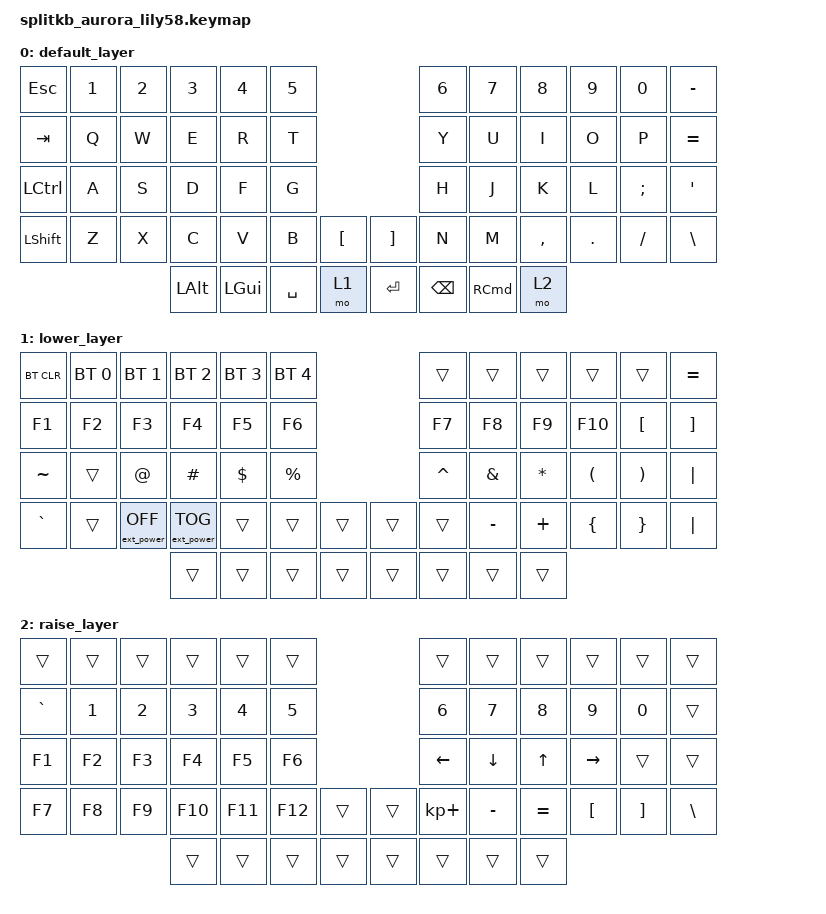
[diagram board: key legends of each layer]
/*
 * Copyright (c) 2022 The ZMK Contributors
 *
 * SPDX-License-Identifier: MIT
 */

#include <behaviors.dtsi>
#include <dt-bindings/zmk/bt.h>
#include <dt-bindings/zmk/ext_power.h>
#include <dt-bindings/zmk/keys.h>

/ {
    keymap {
        compatible = "zmk,keymap";

        default_layer {
            // ------------------------------------------------------------------------------------------------------------
            // |  ESC  |  1  |  2  |  3   |  4   |  5   |                   |  6   |  7    |  8    |  9   |   0   |   `   |
            // |  TAB  |  Q  |  W  |  E   |  R   |  T   |                   |  Y   |  U    |  I    |  O   |   P   |   -   |
            // |  CTRL |  A  |  S  |  D   |  F   |  G   |                   |  H   |  J    |  K    |  L   |   ;   |   '   |
            // | SHIFT |  Z  |  X  |  C   |  V   |  B   |   "["  |  |  "]"  |  N   |  M    |  ,    |  .   |   /   | SHIFT |
            //                     | ALT  | GUI  | LOWER|  SPACE |  | ENTER | RAISE| BSPC  | GUI   |

            bindings = <
&kp ESC    &kp N1  &kp N2  &kp N3    &kp N4    &kp N5                           &kp N6         &kp N7             &kp N8     &kp N9   &kp N0    &kp MINUS
&kp TAB    &kp Q   &kp W   &kp E     &kp R     &kp T                            &kp Y          &kp U              &kp I      &kp O    &kp P     &kp EQUAL
&kp LCTRL  &kp A   &kp S   &kp D     &kp F     &kp G                            &kp H          &kp J              &kp K      &kp L    &kp SEMI  &kp SQT
&kp LSHFT  &kp Z   &kp X   &kp C     &kp V     &kp B      &kp LBKT    &kp RBKT  &kp N          &kp M              &kp COMMA  &kp DOT  &kp FSLH  &kp BACKSLASH
                           &kp LALT  &kp LGUI  &kp SPACE  &mo 1       &kp RET   &kp BACKSPACE  &kp RIGHT_COMMAND  &mo 2
            >;
        };

        lower_layer {
            // ------------------------------------------------------------------------------------------------------------
            // | BTCLR | BT1 | BT2 |  BT3 |  BT4 |  BT5 |                   |      |       |       |      |       |       |
            // |  F1   |  F2 |  F3 |  F4  |  F5  |  F6  |                   |  F7  |  F8   |  F9   |  F10 |  F11  |  F12  |
            // |   `   |  !  |  @  |  #   |  $   |  %   |                   |  ^   |  &    |  *    |  (   |   )   |   ~   |
            // |       |     |     |      |      |      |        |  |       |      |  _    |  +    |  {   |   }   |  "|"  |
            //                     |      |      |      |        |  |       |      |       |       |

            bindings = <
&bt BT_CLR  &bt BT_SEL 0  &bt BT_SEL 1       &bt BT_SEL 2       &bt BT_SEL 3  &bt BT_SEL 4                    &trans     &trans     &trans    &trans    &trans            &kp EQUAL
&kp F1      &kp F2        &kp F3             &kp F4             &kp F5        &kp F6                          &kp F7     &kp F8     &kp F9    &kp F10   &kp LEFT_BRACKET  &kp RIGHT_BRACKET
&kp TILDE   &trans        &kp AT             &kp HASH           &kp DOLLAR    &kp PRCNT                       &kp CARET  &kp AMPS   &kp STAR  &kp LPAR  &kp RPAR          &kp PIPE
&kp GRAVE   &trans        &ext_power EP_OFF  &ext_power EP_TOG  &trans        &trans        &trans    &trans  &trans     &kp MINUS  &kp PLUS  &kp LBRC  &kp RBRC          &kp PIPE
                                             &trans             &trans        &trans        &trans    &trans  &trans     &trans     &trans
            >;
        };

        raise_layer {
            // ------------------------------------------------------------------------------------------------------------
            // |       |     |     |      |      |      |                   |      |       |       |      |       |       |
            // |   `   |  1  |  2  |  3   |  4   |  5   |                   |  6   |   7   |   8   |  9   |   0   |       |
            // |   F1  |  F2 |  F3 |  F4  |  F5  |  F6  |                   |      |   <-  |   v   |  ^   |  ->   |       |
            // |   F7  |  F8 |  F9 |  F10 |  F11 |  F12 |        |  |       |  +   |   -   |   =   |  [   |   ]   |   \   |
            //                     |      |      |      |        |  |       |      |       |       |

            bindings = <
&trans     &trans  &trans  &trans   &trans   &trans                     &trans          &trans          &trans        &trans     &trans    &trans
&kp GRAVE  &kp N1  &kp N2  &kp N3   &kp N4   &kp N5                     &kp N6          &kp N7          &kp N8        &kp N9     &kp N0    &trans
&kp F1     &kp F2  &kp F3  &kp F4   &kp F5   &kp F6                     &kp LEFT_ARROW  &kp DOWN_ARROW  &kp UP_ARROW  &kp RIGHT  &trans    &trans
&kp F7     &kp F8  &kp F9  &kp F10  &kp F11  &kp F12  &trans    &trans  &kp KP_PLUS     &kp MINUS       &kp EQUAL     &kp LBKT   &kp RBKT  &kp BSLH
                           &trans   &trans   &trans   &trans    &trans  &trans          &trans          &trans
            >;
        };
    };
};
